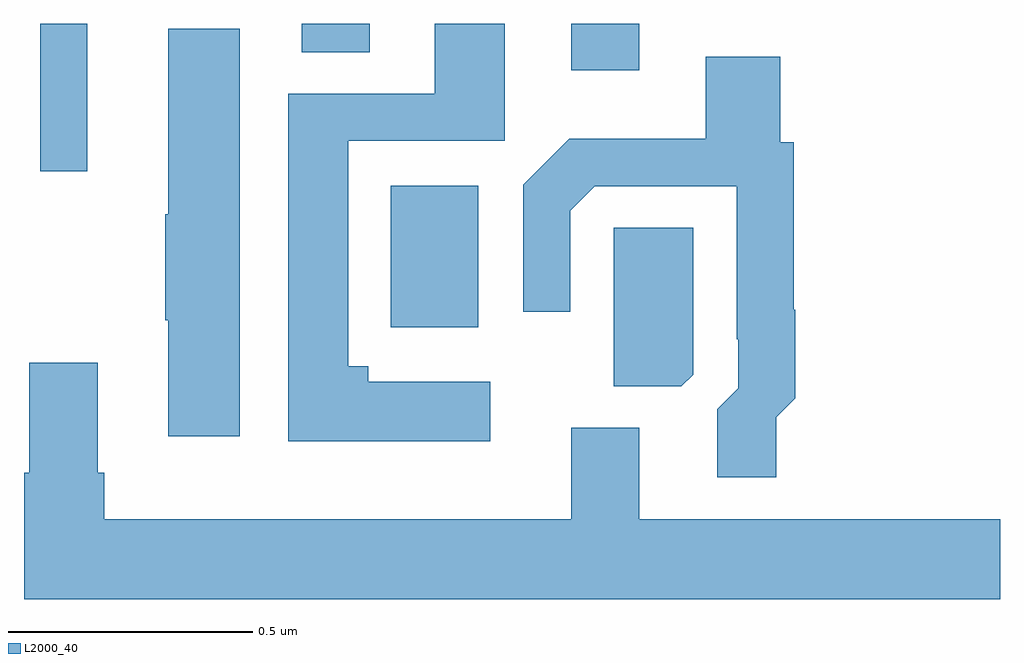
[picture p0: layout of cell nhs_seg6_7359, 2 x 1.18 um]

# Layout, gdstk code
import gdstk
lib = gdstk.Library(unit=1e-6, precision=1e-09)
def R(c, l, rs):  # rectangles x0, y0, x1, y1
    for r in rs: c.add(gdstk.rectangle(r[:2], r[2:], *l))
def P(c, l, *ps):  # polygons
    for p in ps: c.add(gdstk.Polygon(p, *l))
L2000_40 = (2000, 40)

nhs_seg6_7359 = lib.new_cell('nhs_seg6_7359')
R(nhs_seg6_7359, L2000_40, [(207.752,963.878,207.931,964.168), (207.033,964.197,207.13,964.5), (208.121,964.404,208.261,964.5), (207.569,964.441,207.709,964.5)])
P(nhs_seg6_7359, L2000_40, [(207.955,963.766),(207.705,963.766),(207.705,963.798),(207.664,963.798),(207.664,964.26),(207.985,964.26),(207.985,964.5),(207.842,964.5),(207.842,964.356),(207.542,964.356),(207.542,963.644),(207.955,963.644)],
  [(207.442,964.489),(207.296,964.489),(207.296,964.109),(207.289,964.109),(207.289,963.892),(207.296,963.892),(207.296,963.654),(207.442,963.654)],
  [(208.541,963.693),(208.58,963.732),(208.58,963.914),(208.577,963.914),(208.577,964.257),(208.55,964.257),(208.55,964.432),(208.397,964.432),(208.397,964.264),(208.117,964.264),(208.023,964.17),(208.023,963.909),(208.119,963.909),(208.119,964.116),(208.17,964.167),(208.461,964.167),(208.461,963.853),(208.464,963.853),(208.464,963.753),(208.421,963.71),(208.421,963.57),(208.541,963.57)],
  [(208.371,963.78),(208.371,964.082),(208.209,964.082),(208.209,963.971),(208.208,963.971),(208.208,963.757),(208.347,963.757)],
  [(209,963.484),(208.261,963.484),(208.261,963.672),(208.121,963.672),(208.121,963.484),(207.164,963.484),(207.164,963.58),(207.151,963.58),(207.151,963.805),(207.011,963.805),(207.011,963.58),(207,963.58),(207,963.32),(209,963.32)])

lib.write_gds('nhs_seg6_7359.gds')
